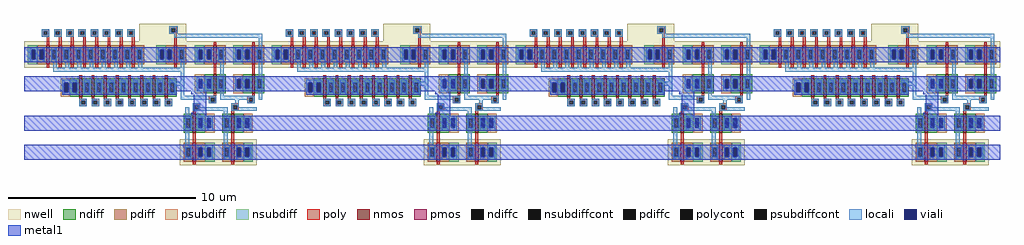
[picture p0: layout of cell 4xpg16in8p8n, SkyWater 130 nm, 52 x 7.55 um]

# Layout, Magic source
magic
tech sky130A
use pg16Input8p8n  pg16Input8p8n_3
transform 1 0 4795 0 1 335
box -895 -335 405 420
use pg16Input8p8n  pg16Input8p8n_2
transform 1 0 3495 0 1 335
box -895 -335 405 420
use pg16Input8p8n  pg16Input8p8n_1
transform 1 0 2195 0 1 335
box -895 -335 405 420
use pg16Input8p8n  pg16Input8p8n_0
transform 1 0 895 0 1 335
box -895 -335 405 420
<< end >>

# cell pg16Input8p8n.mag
magic
tech sky130A
<< nwell >>
rect -280 325 -30 420
rect -895 185 -5 325
<< nmos >>
rect -600 30 -585 130
rect -535 30 -520 130
rect -470 30 -455 130
rect -405 30 -390 130
rect -340 30 -325 130
rect -275 30 -260 130
rect -210 30 -195 130
rect -145 30 -130 130
<< pmos >>
rect -775 205 -760 305
rect -710 205 -695 305
rect -645 205 -630 305
rect -580 205 -565 305
rect -515 205 -500 305
rect -450 205 -435 305
rect -385 205 -370 305
rect -320 205 -305 305
rect -95 205 -80 305
<< ndiff >>
rect -650 105 -600 130
rect -650 55 -635 105
rect -615 55 -600 105
rect -650 30 -600 55
rect -585 105 -535 130
rect -585 55 -570 105
rect -550 55 -535 105
rect -585 30 -535 55
rect -520 105 -470 130
rect -520 55 -505 105
rect -485 55 -470 105
rect -520 30 -470 55
rect -455 105 -405 130
rect -455 55 -440 105
rect -420 55 -405 105
rect -455 30 -405 55
rect -390 105 -340 130
rect -390 55 -375 105
rect -355 55 -340 105
rect -390 30 -340 55
rect -325 105 -275 130
rect -325 55 -310 105
rect -290 55 -275 105
rect -325 30 -275 55
rect -260 105 -210 130
rect -260 55 -245 105
rect -225 55 -210 105
rect -260 30 -210 55
rect -195 105 -145 130
rect -195 55 -180 105
rect -160 55 -145 105
rect -195 30 -145 55
rect -130 105 -80 130
rect -130 55 -115 105
rect -95 55 -80 105
rect -130 30 -80 55
<< pdiff >>
rect -825 280 -775 305
rect -825 230 -810 280
rect -790 230 -775 280
rect -825 205 -775 230
rect -760 280 -710 305
rect -760 230 -745 280
rect -725 230 -710 280
rect -760 205 -710 230
rect -695 280 -645 305
rect -695 230 -680 280
rect -660 230 -645 280
rect -695 205 -645 230
rect -630 280 -580 305
rect -630 230 -615 280
rect -595 230 -580 280
rect -630 205 -580 230
rect -565 280 -515 305
rect -565 230 -550 280
rect -530 230 -515 280
rect -565 205 -515 230
rect -500 280 -450 305
rect -500 230 -485 280
rect -465 230 -450 280
rect -500 205 -450 230
rect -435 280 -385 305
rect -435 230 -420 280
rect -400 230 -385 280
rect -435 205 -385 230
rect -370 280 -320 305
rect -370 230 -355 280
rect -335 230 -320 280
rect -370 205 -320 230
rect -305 280 -255 305
rect -305 230 -290 280
rect -270 230 -255 280
rect -305 205 -255 230
rect -140 280 -95 305
rect -140 230 -130 280
rect -110 230 -95 280
rect -140 205 -95 230
rect -80 280 -30 305
rect -80 230 -65 280
rect -45 230 -30 280
rect -80 205 -30 230
<< ndiffc >>
rect -635 55 -615 105
rect -570 55 -550 105
rect -505 55 -485 105
rect -440 55 -420 105
rect -375 55 -355 105
rect -310 55 -290 105
rect -245 55 -225 105
rect -180 55 -160 105
rect -115 55 -95 105
<< pdiffc >>
rect -810 230 -790 280
rect -745 230 -725 280
rect -680 230 -660 280
rect -615 230 -595 280
rect -550 230 -530 280
rect -485 230 -465 280
rect -420 230 -400 280
rect -355 230 -335 280
rect -290 230 -270 280
rect -130 230 -110 280
rect -65 230 -45 280
<< psubdiff >>
rect -700 105 -650 130
rect -700 55 -680 105
rect -660 55 -650 105
rect -700 30 -650 55
<< nsubdiff >>
rect -875 280 -825 305
rect -875 230 -855 280
rect -835 230 -825 280
rect -875 205 -825 230
rect -190 280 -140 305
rect -190 230 -170 280
rect -150 230 -140 280
rect -190 205 -140 230
<< psubdiffcont >>
rect -680 55 -660 105
<< nsubdiffcont >>
rect -855 230 -835 280
rect -170 230 -150 280
<< poly >>
rect -120 395 -80 405
rect -800 380 -760 390
rect -800 360 -790 380
rect -770 360 -760 380
rect -800 350 -760 360
rect -735 380 -695 390
rect -735 360 -725 380
rect -705 360 -695 380
rect -735 350 -695 360
rect -670 380 -630 390
rect -670 360 -660 380
rect -640 360 -630 380
rect -670 350 -630 360
rect -605 380 -565 390
rect -605 360 -595 380
rect -575 360 -565 380
rect -605 350 -565 360
rect -540 380 -500 390
rect -540 360 -530 380
rect -510 360 -500 380
rect -540 350 -500 360
rect -475 380 -435 390
rect -475 360 -465 380
rect -445 360 -435 380
rect -475 350 -435 360
rect -410 380 -370 390
rect -410 360 -400 380
rect -380 360 -370 380
rect -410 350 -370 360
rect -345 380 -305 390
rect -345 360 -335 380
rect -315 360 -305 380
rect -120 375 -110 395
rect -90 375 -80 395
rect -120 365 -80 375
rect -345 350 -305 360
rect -775 305 -760 350
rect -710 305 -695 350
rect -645 305 -630 350
rect -580 305 -565 350
rect -515 305 -500 350
rect -450 305 -435 350
rect -385 305 -370 350
rect -320 305 -305 350
rect -95 305 -80 365
rect -775 185 -760 205
rect -710 185 -695 205
rect -645 185 -630 205
rect -580 185 -565 205
rect -515 185 -500 205
rect -450 185 -435 205
rect -385 185 -370 205
rect -320 185 -305 205
rect -95 185 -80 205
rect -600 130 -585 145
rect -535 130 -520 145
rect -470 130 -455 145
rect -405 130 -390 145
rect -340 130 -325 145
rect -275 130 -260 145
rect -210 130 -195 145
rect -145 130 -130 145
rect -600 20 -585 30
rect -535 20 -520 30
rect -470 20 -455 30
rect -405 20 -390 30
rect -340 20 -325 30
rect -275 20 -260 30
rect -210 20 -195 30
rect -145 20 -130 30
rect -600 10 -560 20
rect -600 -10 -590 10
rect -570 -10 -560 10
rect -600 -20 -560 -10
rect -535 10 -495 20
rect -535 -10 -525 10
rect -505 -10 -495 10
rect -535 -20 -495 -10
rect -470 10 -430 20
rect -470 -10 -460 10
rect -440 -10 -430 10
rect -470 -20 -430 -10
rect -405 10 -365 20
rect -405 -10 -395 10
rect -375 -10 -365 10
rect -405 -20 -365 -10
rect -340 10 -300 20
rect -340 -10 -330 10
rect -310 -10 -300 10
rect -340 -20 -300 -10
rect -275 10 -235 20
rect -275 -10 -265 10
rect -245 -10 -235 10
rect -275 -20 -235 -10
rect -210 10 -170 20
rect -210 -10 -200 10
rect -180 -10 -170 10
rect -210 -20 -170 -10
rect -145 10 -105 20
rect -145 -10 -135 10
rect -115 -10 -105 10
rect -145 -20 -105 -10
<< polycont >>
rect -790 360 -770 380
rect -725 360 -705 380
rect -660 360 -640 380
rect -595 360 -575 380
rect -530 360 -510 380
rect -465 360 -445 380
rect -400 360 -380 380
rect -335 360 -315 380
rect -110 375 -90 395
rect -590 -10 -570 10
rect -525 -10 -505 10
rect -460 -10 -440 10
rect -395 -10 -375 10
rect -330 -10 -310 10
rect -265 -10 -245 10
rect -200 -10 -180 10
rect -135 -10 -115 10
<< locali >>
rect -120 395 -75 405
rect -800 380 -760 390
rect -800 360 -790 380
rect -770 360 -760 380
rect -800 350 -760 360
rect -735 380 -695 390
rect -735 360 -725 380
rect -705 360 -695 380
rect -735 350 -695 360
rect -670 380 -630 390
rect -670 360 -660 380
rect -640 360 -630 380
rect -670 350 -630 360
rect -605 380 -565 390
rect -605 360 -595 380
rect -575 360 -565 380
rect -605 350 -565 360
rect -540 380 -500 390
rect -540 360 -530 380
rect -510 360 -500 380
rect -540 350 -500 360
rect -475 380 -435 390
rect -475 360 -465 380
rect -445 360 -435 380
rect -475 350 -435 360
rect -410 380 -370 390
rect -410 360 -400 380
rect -380 360 -370 380
rect -410 350 -370 360
rect -345 380 -305 390
rect -345 360 -335 380
rect -315 360 -305 380
rect -120 375 -110 395
rect -90 375 -75 395
rect -120 365 -75 375
rect -345 350 -305 360
rect -95 345 375 365
rect 355 295 375 345
rect -865 280 -785 295
rect -865 230 -855 280
rect -835 230 -810 280
rect -790 230 -785 280
rect -865 215 -785 230
rect -750 280 -720 295
rect -750 230 -745 280
rect -725 230 -720 280
rect -750 215 -720 230
rect -685 280 -655 295
rect -685 230 -680 280
rect -660 230 -655 280
rect -685 215 -655 230
rect -620 280 -590 295
rect -620 230 -615 280
rect -595 230 -590 280
rect -620 215 -590 230
rect -555 280 -525 295
rect -555 230 -550 280
rect -530 230 -525 280
rect -555 215 -525 230
rect -490 280 -460 295
rect -490 230 -485 280
rect -465 230 -460 280
rect -490 215 -460 230
rect -425 280 -395 295
rect -425 230 -420 280
rect -400 230 -395 280
rect -425 215 -395 230
rect -360 280 -330 295
rect -360 230 -355 280
rect -335 230 -330 280
rect -360 215 -330 230
rect -295 280 -265 295
rect -295 230 -290 280
rect -270 230 -265 280
rect -295 215 -265 230
rect -180 280 -105 295
rect -180 230 -170 280
rect -150 230 -130 280
rect -110 230 -105 280
rect -180 215 -105 230
rect -70 280 -40 295
rect -70 230 -65 280
rect -45 230 -40 280
rect -70 215 -40 230
rect -740 185 -720 215
rect -675 185 -655 215
rect -610 185 -590 215
rect -545 185 -525 215
rect -480 185 -460 215
rect -415 185 -395 215
rect -350 185 -330 215
rect -285 185 -265 215
rect -60 185 -40 215
rect -740 165 -40 185
rect -690 105 -610 120
rect -690 55 -680 105
rect -660 55 -635 105
rect -615 55 -610 105
rect -690 40 -610 55
rect -575 105 -545 120
rect -575 55 -570 105
rect -550 55 -545 105
rect -575 40 -545 55
rect -510 105 -480 120
rect -510 55 -505 105
rect -485 55 -480 105
rect -510 40 -480 55
rect -445 105 -415 120
rect -445 55 -440 105
rect -420 55 -415 105
rect -445 40 -415 55
rect -380 105 -350 120
rect -380 55 -375 105
rect -355 55 -350 105
rect -380 40 -350 55
rect -315 105 -285 120
rect -315 55 -310 105
rect -290 55 -285 105
rect -315 40 -285 55
rect -250 105 -220 120
rect -250 55 -245 105
rect -225 55 -220 105
rect -250 40 -220 55
rect -185 105 -155 120
rect -185 55 -180 105
rect -160 55 -155 105
rect -185 40 -155 55
rect -120 110 -90 120
rect -60 110 -40 165
rect -120 105 -40 110
rect -120 55 -115 105
rect -95 90 -40 105
rect -95 55 -90 90
rect -120 40 -90 55
rect -60 35 -40 90
rect -600 10 -560 20
rect -600 -10 -590 10
rect -570 -10 -560 10
rect -600 -20 -560 -10
rect -535 10 -495 20
rect -535 -10 -525 10
rect -505 -10 -495 10
rect -535 -20 -495 -10
rect -470 10 -430 20
rect -470 -10 -460 10
rect -440 -10 -430 10
rect -470 -20 -430 -10
rect -405 10 -365 20
rect -405 -10 -395 10
rect -375 -10 -365 10
rect -405 -20 -365 -10
rect -340 10 -300 20
rect -340 -10 -330 10
rect -310 -10 -300 10
rect -340 -20 -300 -10
rect -275 10 -235 20
rect -275 -10 -265 10
rect -245 -10 -235 10
rect -275 -20 -235 -10
rect -210 10 -170 20
rect -210 -10 -200 10
rect -180 -10 -170 10
rect -210 -20 -170 -10
rect -145 10 -105 20
rect -60 15 -5 35
rect 10 15 20 35
rect 170 15 200 35
rect -145 -10 -135 10
rect -115 -10 -105 10
rect -145 -20 -105 -10
rect 230 -15 250 25
rect 140 -45 170 -25
<< viali >>
rect -855 230 -835 280
rect -810 230 -790 280
rect -170 230 -150 280
rect -130 230 -110 280
rect -680 55 -660 105
rect -635 55 -615 105
<< metal1 >>
rect -895 280 -5 295
rect -895 230 -855 280
rect -835 230 -810 280
rect -790 230 -170 280
rect -150 230 -130 280
rect -110 230 -5 280
rect -895 220 -5 230
rect -895 215 20 220
rect -895 105 105 140
rect -895 60 -680 105
rect -690 55 -680 60
rect -660 55 -635 105
rect -615 60 105 105
rect -615 55 -80 60
rect -690 40 -80 55
rect -5 45 75 60
rect 10 -55 75 45
rect -5 -70 75 -55
rect -895 -150 -65 -70
rect -5 -150 140 -70
rect 210 -150 405 -70
rect -895 -305 -65 -225
rect 345 -305 405 -225
use inverter  inverter_3
transform -1 0 -5 0 -1 -80
box -145 -75 60 255
use inverter  inverter_2
transform -1 0 200 0 -1 -80
box -145 -75 60 255
use inverter  inverter_0
transform 1 0 140 0 1 70
box -145 -75 60 255
use inverter  inverter_1
transform 1 0 345 0 1 70
box -145 -75 60 255
<< labels >>
rlabel locali 140 -35 140 -35 7 xe
rlabel space 142 -115 142 -115 7 VN
port 3 w
rlabel locali -135 -15 -135 -15 7 Ain
port 0 w
rlabel locali -210 0 -210 0 1 bin
port 1 n
rlabel locali -210 0 -210 0 7 Bin
port 2 w
rlabel locali -340 -20 -300 20 7 Din
port 7 w
rlabel poly -470 -20 -430 20 7 Fin
port 9 w
rlabel locali -535 -20 -495 20 3 Gin
port 10 e
rlabel locali -600 -20 -560 20 7 Hin
port 11 w
rlabel locali -275 -20 -235 20 7 Cin
port 13 w
rlabel locali -405 -20 -365 20 7 Ein
port 8 w
rlabel locali -10 355 -10 355 7 reset_loop
rlabel metal1 -15 85 10 110 7 VN
port 15 w
rlabel locali -345 350 -305 390 7 Iin
port 14 w
rlabel metal1 -895 255 -895 255 7 VP
port 5 w
rlabel locali -410 370 -410 370 7 Jin
port 16 w
rlabel locali -475 370 -475 370 7 Kin
port 17 w
rlabel locali -540 370 -540 370 7 Lin
port 18 w
rlabel locali -605 370 -605 370 1 Min
port 19 n
rlabel locali -670 370 -670 370 1 Nin
port 20 n
rlabel locali -735 370 -735 370 1 Oin
port 21 n
rlabel locali -800 370 -800 370 7 Pin
port 22 w
rlabel metal1 375 -265 375 -265 7 VP
rlabel metal1 -895 95 -895 95 3 VN
rlabel space -25 -180 -25 -180 7 xout
rlabel space -35 -40 -25 -30 7 xout
port 4 w
<< end >>

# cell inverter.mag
magic
tech sky130A
<< nwell >>
rect -145 115 60 255
<< nmos >>
rect -25 -20 -10 80
<< pmos >>
rect -25 135 -10 235
<< ndiff >>
rect -75 55 -25 80
rect -75 5 -60 55
rect -40 5 -25 55
rect -75 -20 -25 5
rect -10 55 40 80
rect -10 5 5 55
rect 25 5 40 55
rect -10 -20 40 5
<< pdiff >>
rect -75 210 -25 235
rect -75 160 -60 210
rect -40 160 -25 210
rect -75 135 -25 160
rect -10 210 40 235
rect -10 160 5 210
rect 25 160 40 210
rect -10 135 40 160
<< ndiffc >>
rect -60 5 -40 55
rect 5 5 25 55
<< pdiffc >>
rect -60 160 -40 210
rect 5 160 25 210
<< psubdiff >>
rect -125 55 -75 80
rect -125 5 -105 55
rect -85 5 -75 55
rect -125 -20 -75 5
<< nsubdiff >>
rect -125 210 -75 235
rect -125 160 -105 210
rect -85 160 -75 210
rect -125 135 -75 160
<< psubdiffcont >>
rect -105 5 -85 55
<< nsubdiffcont >>
rect -105 160 -85 210
<< poly >>
rect -25 235 -10 250
rect -25 80 -10 135
rect -25 -35 -10 -20
rect -50 -45 -10 -35
rect -50 -65 -40 -45
rect -20 -65 -10 -45
rect -50 -75 -10 -65
<< polycont >>
rect -40 -65 -20 -45
<< locali >>
rect -115 210 -35 225
rect -115 160 -105 210
rect -85 160 -60 210
rect -40 160 -35 210
rect -115 145 -35 160
rect 0 210 30 225
rect 0 160 5 210
rect 25 160 30 210
rect 0 145 30 160
rect 10 70 30 145
rect -115 55 -35 70
rect -115 5 -105 55
rect -85 5 -60 55
rect -40 5 -35 55
rect -115 -10 -35 5
rect 0 55 30 70
rect 0 5 5 55
rect 25 5 30 55
rect 0 -10 30 5
rect -145 -45 -10 -35
rect -145 -55 -40 -45
rect -50 -65 -40 -55
rect -20 -65 -10 -45
rect 10 -55 30 -10
rect -50 -75 -10 -65
<< viali >>
rect -105 160 -85 210
rect -60 160 -40 210
rect -105 5 -85 55
rect -60 5 -40 55
<< metal1 >>
rect -145 210 60 225
rect -145 160 -105 210
rect -85 160 -60 210
rect -40 160 60 210
rect -145 145 60 160
rect -145 55 60 70
rect -145 5 -105 55
rect -85 5 -60 55
rect -40 5 60 55
rect -145 -10 60 5
<< labels >>
rlabel locali -145 -45 -145 -45 7 A
port 1 w
<< end >>
